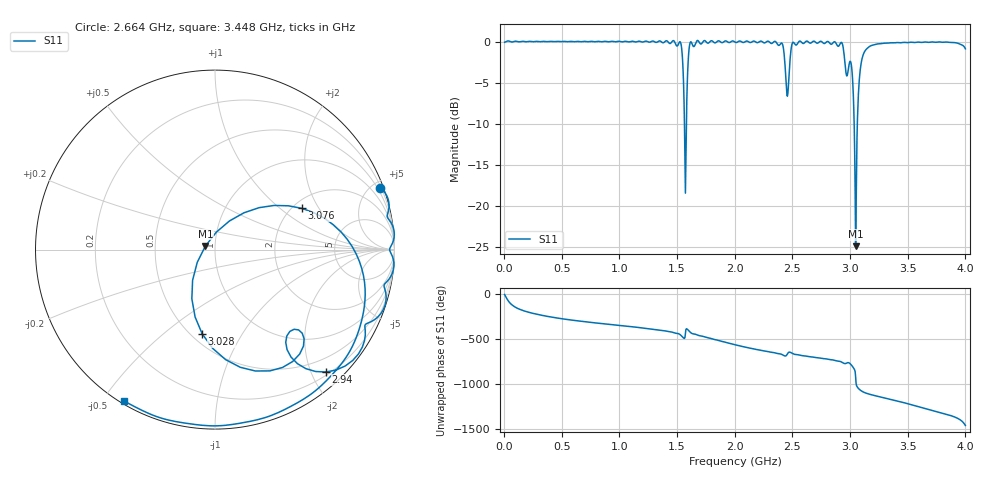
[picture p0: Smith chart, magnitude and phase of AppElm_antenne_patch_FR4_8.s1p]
! TOUCHSTONE file generated by CST MICROWAVE STUDIO
! Date and time: Tue Jun  7 22:11:19 2022
! Project name: AppElm_antenne_patch_FR4.cst
! Parameters = {L=45; W=58.5; e=0.035; h=1.6; lambda=0.190476; ls=120; w0=1.6; w1=0.58635; ws=120; y0=20; y1=23.81}
! Header version: 2018
! Port assignment regex: !\s*Touchstone port\s*([0-9]+)\s*=\s*(CST MWS port|CST DS port)\s*([0-9]+|Zmin|Zmax)\s*\(\"(.*)\"\)(\s*mode\s*([0-9]+))?.*
! Touchstone port assignment:
! Touchstone port 1 = CST MWS port 1 ("")
# GHz S MA R 50
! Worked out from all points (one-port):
!   1000 points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, 4 MHz to 4 GHz, reference 50 ohm
!   lowest |S11| = -24.9 dB at 3.048 GHz (marker M1), VSWR 1.12, Z = 44.9 + j1.76 ohm
!   |S11| at or under -10 dB: 1.564 GHz to 1.58 GHz (16.56 MHz wide, 1.05 % of centre); 3.035 GHz to 3.063 GHz (27.61 MHz wide, 0.905 % of centre)
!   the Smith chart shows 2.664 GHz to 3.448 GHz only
!   S11 on the Smith chart (normalised r, x): 2.664 GHz: 0.27, +5.52; 2.94 GHz: 0.25, -2.23; 3.028 GHz: 0.57, -0.69; 3.076 GHz: 2.23, +1.44; 3.448 GHz: 0.01, -0.57
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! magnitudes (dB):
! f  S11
! 4 MHz  -0.1
! 504 MHz  0.0
! 1.004 GHz  0.0
! 1.504 GHz  -0.5
! 1.536 GHz  -0.5
! 1.56 GHz  -7.3
! 1.572 GHz  -18.4
! 1.584 GHz  -7.2
! 1.604 GHz  -0.9
! 1.62 GHz  0.0
! 2.004 GHz  -0.1
! 2.4 GHz  -0.2
! 2.456 GHz  -6.6
! 2.504 GHz  -0.1
! 2.664 GHz  -0.1
! 2.94 GHz  -0.7
! 2.968 GHz  -4.1
! 3.004 GHz  -2.4
! 3.016 GHz  -3.5
! 3.028 GHz  -6.5
! 3.048 GHz  -24.9
! 3.064 GHz  -9.4
! 3.076 GHz  -5.4
! 3.1 GHz  -2.3
! 3.14 GHz  -0.9
! 3.448 GHz  -0.1
! 3.504 GHz  -0.1
! 4 GHz  -0.9
